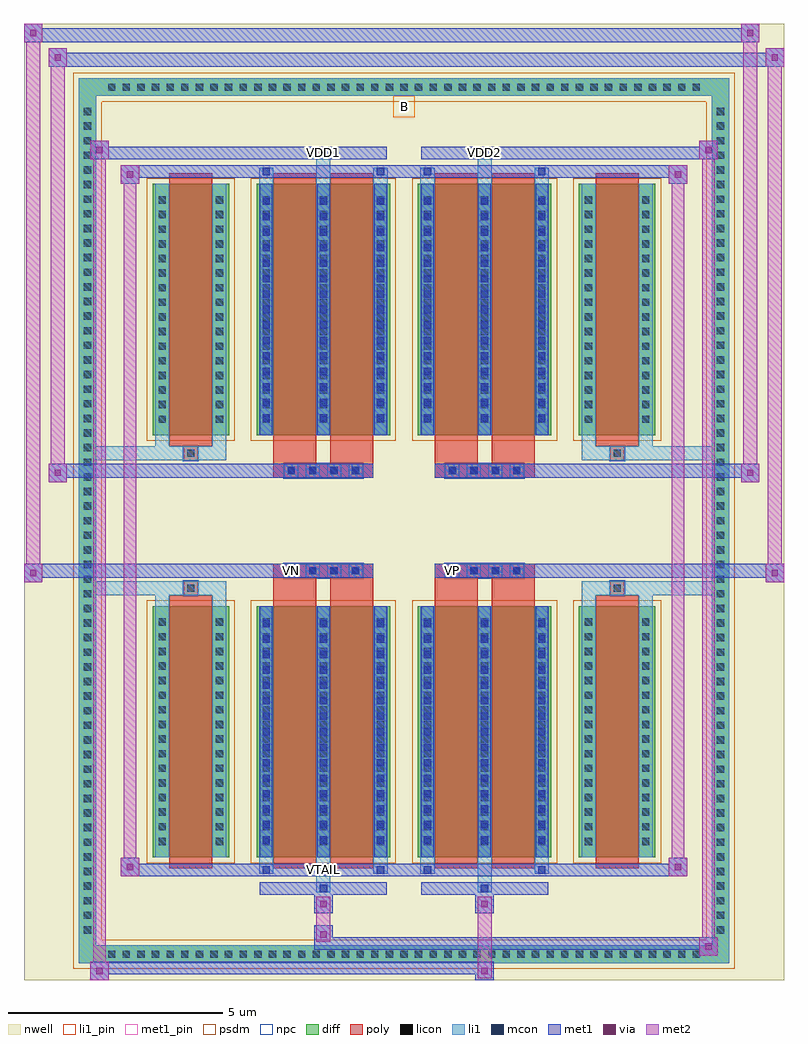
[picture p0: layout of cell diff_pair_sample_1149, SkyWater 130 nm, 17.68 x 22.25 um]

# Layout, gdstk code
import gdstk
lib = gdstk.Library(unit=1e-6, precision=5e-09)
def R(c, l, rs):  # rectangles x0, y0, x1, y1
    for r in rs: c.add(gdstk.rectangle(r[:2], r[2:], *l))
def A(c, l, x, y, w, h, nx, ny, dx, dy):  # array of equal rectangles
    R(c, l, [(x+i*dx, y+j*dy, x+i*dx+w, y+j*dy+h) for i in range(nx) for j in range(ny)])
def P(c, l, *ps):  # polygons
    for p in ps: c.add(gdstk.Polygon(p, *l))
nwell = (64, 20)
diff = (65, 20)
poly = (66, 20)
licon = (66, 44)
li1_pin = (67, 16)
li1 = (67, 20)
mcon = (67, 44)
met1_pin = (68, 16)
met1 = (68, 20)
via = (68, 44)
met2 = (69, 20)
psdm = (94, 20)
npc = (95, 20)

diff_pair_sample_1149 = lib.new_cell('diff_pair_sample_1149')
R(diff_pair_sample_1149, nwell, [(-8.84,-10.69,8.84,11.56), (-6.16,-8.88,-0.01,-0.8), (0.01,-8.88,6.16,-0.8), (-6.16,0.8,-0.01,8.88), (0.01,0.8,6.16,8.88)])
A(diff_pair_sample_1149, diff, -7.005, -10.29, 0.41, 0.41, 41, 2, 0.34, 20.17)
A(diff_pair_sample_1149, diff, -7.57, -9.725, 0.41, 0.41, 1, 57, 0, 0.34)
A(diff_pair_sample_1149, diff, 7.16, -9.725, 0.41, 0.41, 1, 57, 0, 0.34)
R(diff_pair_sample_1149, diff, [(-7.005,-10.29,7.005,-9.88), (-7.57,-9.725,-7.16,9.725), (7.16,-9.725,7.57,9.725), (-5.85,-7.835,-4.07,-1.985), (-3.43,-7.835,-0.32,-1.985), (0.32,-7.835,3.43,-1.985), (4.07,-7.835,5.85,-1.985), (-5.85,1.985,-4.07,7.835), (-3.43,1.985,-0.32,7.835), (0.32,1.985,3.43,7.835), (4.07,1.985,5.85,7.835), (-7.005,9.88,7.005,10.29)])
P(diff_pair_sample_1149, diff, [(7.57,10.29),(-7.57,10.29),(-7.57,-9.88),(-7.16,-9.88),(-7.16,9.88),(7.16,9.88),(7.16,-9.88),(-7.16,-9.88),(-7.57,-9.88),(-7.57,-10.29),(7.57,-10.29)])
A(diff_pair_sample_1149, poly, -2.79, -1.33, 0.33, 0.33, 4, 2, 0.5, 2.33)
A(diff_pair_sample_1149, poly, 0.96, -1.33, 0.33, 0.33, 4, 2, 0.5, 2.33)
R(diff_pair_sample_1149, poly, [(-5.46,-8.085,-4.46,-1.735), (-3.04,-8.085,-2.04,-1.735), (-1.71,-8.085,-0.71,-1.735), (0.71,-8.085,1.71,-1.735), (2.04,-8.085,3.04,-1.735), (4.46,-8.085,5.46,-1.735), (-5.125,-1.735,-4.795,-1.405), (-5.125,-1.735,-4.795,-1.405), (-3.04,-1.735,-2.04,-1.33), (-1.71,-1.735,-0.71,-1.33), (0.71,-1.735,1.71,-1.33), (2.04,-1.735,3.04,-1.33), (4.795,-1.735,5.125,-1.405), (4.795,-1.735,5.125,-1.405), (-3.04,-1.33,-0.71,-1), (0.71,-1.33,3.04,-1), (-3.04,1,-0.71,1.33), (0.71,1,3.04,1.33), (-3.04,1.33,-2.04,1.735), (-1.71,1.33,-0.71,1.735), (0.71,1.33,1.71,1.735), (2.04,1.33,3.04,1.735), (-5.125,1.405,-4.795,1.735), (-5.125,1.405,-4.795,1.735), (4.795,1.405,5.125,1.735), (4.795,1.405,5.125,1.735), (-5.46,1.735,-4.46,8.085), (-3.04,1.735,-2.04,8.085), (-1.71,1.735,-0.71,8.085), (0.71,1.735,1.71,8.085), (2.04,1.735,3.04,8.085), (4.46,1.735,5.46,8.085)])
A(diff_pair_sample_1149, licon, -6.885, -10.17, 0.17, 0.17, 41, 2, 0.34, 20.17)
A(diff_pair_sample_1149, licon, -7.45, -9.605, 0.17, 0.17, 1, 57, 0, 0.34)
A(diff_pair_sample_1149, licon, 7.28, -9.605, 0.17, 0.17, 1, 57, 0, 0.34)
A(diff_pair_sample_1149, licon, -5.71, -7.545, 0.17, 0.17, 1, 16, 0, 0.34)
A(diff_pair_sample_1149, licon, -4.38, -7.545, 0.17, 0.17, 1, 16, 0, 0.34)
A(diff_pair_sample_1149, licon, -3.29, -7.545, 0.17, 0.17, 3, 16, 1.33, 0.34)
A(diff_pair_sample_1149, licon, 0.46, -7.545, 0.17, 0.17, 3, 16, 1.33, 0.34)
A(diff_pair_sample_1149, licon, 4.21, -7.545, 0.17, 0.17, 1, 16, 0, 0.34)
A(diff_pair_sample_1149, licon, 5.54, -7.545, 0.17, 0.17, 1, 16, 0, 0.34)
A(diff_pair_sample_1149, licon, -2.71, -1.25, 0.17, 0.17, 4, 2, 0.5, 2.33)
A(diff_pair_sample_1149, licon, 1.04, -1.25, 0.17, 0.17, 4, 2, 0.5, 2.33)
A(diff_pair_sample_1149, licon, -5.71, 2.275, 0.17, 0.17, 1, 16, 0, 0.34)
A(diff_pair_sample_1149, licon, -4.38, 2.275, 0.17, 0.17, 1, 16, 0, 0.34)
A(diff_pair_sample_1149, licon, -3.29, 2.275, 0.17, 0.17, 3, 16, 1.33, 0.34)
A(diff_pair_sample_1149, licon, 0.46, 2.275, 0.17, 0.17, 3, 16, 1.33, 0.34)
A(diff_pair_sample_1149, licon, 4.21, 2.275, 0.17, 0.17, 1, 16, 0, 0.34)
A(diff_pair_sample_1149, licon, 5.54, 2.275, 0.17, 0.17, 1, 16, 0, 0.34)
R(diff_pair_sample_1149, licon, [(-5.045,-1.655,-4.875,-1.485), (4.875,-1.655,5.045,-1.485), (-5.045,1.485,-4.875,1.655), (4.875,1.485,5.045,1.655)])
R(diff_pair_sample_1149, li1_pin, [(-0.25,9.38,0.25,9.88)])
A(diff_pair_sample_1149, li1, -6.965, -10.25, 0.33, 0.33, 41, 2, 0.34, 20.17)
A(diff_pair_sample_1149, li1, -7.53, -9.685, 0.33, 0.33, 1, 57, 0, 0.34)
A(diff_pair_sample_1149, li1, 7.2, -9.685, 0.33, 0.33, 1, 57, 0, 0.34)
A(diff_pair_sample_1149, li1, -3.37, -7.835, 0.33, 5.85, 3, 2, 1.33, 9.82)
A(diff_pair_sample_1149, li1, 0.38, -7.835, 0.33, 5.85, 3, 2, 1.33, 9.82)
A(diff_pair_sample_1149, li1, -5.79, -7.625, 0.33, 0.33, 1, 16, 0, 0.34)
A(diff_pair_sample_1149, li1, -4.46, -7.625, 0.33, 0.33, 1, 16, 0, 0.34)
A(diff_pair_sample_1149, li1, -3.37, -7.625, 0.33, 0.33, 3, 16, 1.33, 0.34)
A(diff_pair_sample_1149, li1, 0.38, -7.625, 0.33, 0.33, 3, 16, 1.33, 0.34)
A(diff_pair_sample_1149, li1, 4.13, -7.625, 0.33, 0.33, 1, 16, 0, 0.34)
A(diff_pair_sample_1149, li1, 5.46, -7.625, 0.33, 0.33, 1, 16, 0, 0.34)
A(diff_pair_sample_1149, li1, -3.29, -7.515, 0.17, 0.17, 3, 15, 1.33, 0.36)
A(diff_pair_sample_1149, li1, -3.29, -7.515, 0.17, 5.21, 3, 2, 1.33, 9.82)
A(diff_pair_sample_1149, li1, 0.46, -7.515, 0.17, 0.17, 3, 15, 1.33, 0.36)
A(diff_pair_sample_1149, li1, 0.46, -7.515, 0.17, 5.21, 3, 2, 1.33, 9.82)
A(diff_pair_sample_1149, li1, -2.79, -1.33, 0.33, 0.33, 4, 2, 0.5, 2.33)
A(diff_pair_sample_1149, li1, 0.96, -1.33, 0.33, 0.33, 4, 2, 0.5, 2.33)
A(diff_pair_sample_1149, li1, -5.79, 2.195, 0.33, 0.33, 1, 16, 0, 0.34)
A(diff_pair_sample_1149, li1, -4.46, 2.195, 0.33, 0.33, 1, 16, 0, 0.34)
A(diff_pair_sample_1149, li1, -3.37, 2.195, 0.33, 0.33, 3, 16, 1.33, 0.34)
A(diff_pair_sample_1149, li1, 0.38, 2.195, 0.33, 0.33, 3, 16, 1.33, 0.34)
A(diff_pair_sample_1149, li1, 4.13, 2.195, 0.33, 0.33, 1, 16, 0, 0.34)
A(diff_pair_sample_1149, li1, 5.46, 2.195, 0.33, 0.33, 1, 16, 0, 0.34)
A(diff_pair_sample_1149, li1, -3.29, 2.305, 0.17, 0.17, 3, 15, 1.33, 0.36)
A(diff_pair_sample_1149, li1, 0.46, 2.305, 0.17, 0.17, 3, 15, 1.33, 0.36)
R(diff_pair_sample_1149, li1, [(-7.57,-10.29,-7.16,-9.88), (-7.57,-10.29,-7.16,-9.88), (-7.16,-10.29,7.16,-9.88), (7.16,-10.29,7.57,-9.88), (7.16,-10.29,7.57,-9.88), (-7.57,-9.88,-7.16,9.88), (7.16,-9.88,7.57,9.88), (-2.04,-8.64,-1.71,-7.835), (-1.96,-8.64,-1.79,-8.47), (1.71,-8.64,2.04,-7.835), (1.79,-8.64,1.96,-8.47), (-3.37,-8.21,-3.04,-7.835), (-3.29,-8.21,-3.12,-8.04), (-0.71,-8.21,-0.38,-7.835), (-0.63,-8.21,-0.46,-8.04), (0.38,-8.21,0.71,-7.835), (0.46,-8.21,0.63,-8.04), (3.04,-8.21,3.37,-7.835), (3.12,-8.21,3.29,-8.04), (-5.79,-7.835,-5.46,-1.985), (-4.46,-7.835,-4.13,-1.985), (4.13,-7.835,4.46,-1.985), (5.46,-7.835,5.79,-1.985), (-5.79,-1.985,-5.46,-1.405), (-4.46,-1.985,-4.13,-1.405), (4.13,-1.985,4.46,-1.405), (5.46,-1.985,5.79,-1.405), (-7.57,-1.735,-5.125,-1.405), (-5.79,-1.735,-5.125,-1.405), (-5.125,-1.735,-4.795,-1.405), (-4.795,-1.735,-4.13,-1.405), (4.13,-1.735,4.795,-1.405), (4.795,-1.735,5.125,-1.405), (4.795,-1.735,7.57,-1.405), (5.125,-1.735,5.79,-1.405), (-7.57,1.405,-5.125,1.735), (-5.79,1.405,-5.125,1.735), (-5.79,1.405,-5.46,1.985), (-5.125,1.405,-4.795,1.735), (-4.795,1.405,-4.13,1.735), (-4.46,1.405,-4.13,1.985), (4.13,1.405,4.795,1.735), (4.13,1.405,4.46,1.985), (4.795,1.405,5.125,1.735), (4.795,1.405,7.57,1.735), (5.125,1.405,5.79,1.735), (5.46,1.405,5.79,1.985), (-5.79,1.985,-5.46,7.835), (-4.46,1.985,-4.13,7.835), (4.13,1.985,4.46,7.835), (5.46,1.985,5.79,7.835), (-3.37,7.835,-3.04,8.21), (-2.04,7.835,-1.71,8.64), (-0.71,7.835,-0.38,8.21), (0.38,7.835,0.71,8.21), (1.71,7.835,2.04,8.64), (3.04,7.835,3.37,8.21), (-3.29,8.04,-3.12,8.21), (-0.63,8.04,-0.46,8.21), (0.46,8.04,0.63,8.21), (3.12,8.04,3.29,8.21), (-1.96,8.47,-1.79,8.64), (1.79,8.47,1.96,8.64), (-7.57,9.88,-7.16,10.29), (-7.57,9.88,-7.16,10.29), (-7.16,9.88,7.16,10.29), (7.16,9.88,7.57,10.29), (7.16,9.88,7.57,10.29)])
A(diff_pair_sample_1149, mcon, -3.29, -7.515, 0.17, 0.17, 3, 15, 1.33, 0.36)
A(diff_pair_sample_1149, mcon, 0.46, -7.515, 0.17, 0.17, 3, 15, 1.33, 0.36)
A(diff_pair_sample_1149, mcon, -2.71, -1.25, 0.17, 0.17, 4, 2, 0.5, 2.33)
A(diff_pair_sample_1149, mcon, 1.04, -1.25, 0.17, 0.17, 4, 2, 0.5, 2.33)
A(diff_pair_sample_1149, mcon, -3.29, 2.305, 0.17, 0.17, 3, 15, 1.33, 0.36)
A(diff_pair_sample_1149, mcon, 0.46, 2.305, 0.17, 0.17, 3, 15, 1.33, 0.36)
R(diff_pair_sample_1149, mcon, [(-1.96,-8.64,-1.79,-8.47), (1.79,-8.64,1.96,-8.47), (-3.29,-8.21,-3.12,-8.04), (-0.63,-8.21,-0.46,-8.04), (0.46,-8.21,0.63,-8.04), (3.12,-8.21,3.29,-8.04), (-3.29,8.04,-3.12,8.21), (-0.63,8.04,-0.46,8.21), (0.46,8.04,0.63,8.21), (3.12,8.04,3.29,8.21), (-1.96,8.47,-1.79,8.64), (1.79,8.47,1.96,8.64)])
R(diff_pair_sample_1149, met1_pin, [(-2.01,-8.25,-1.74,-7.98), (-2.76,-1.29,-2.49,-1.02), (0.99,-1.29,1.26,-1.02), (-2.01,8.43,-1.74,8.7), (1.74,8.43,2.01,8.7)])
A(diff_pair_sample_1149, met1, -3.35, -7.835, 0.29, 5.85, 3, 2, 1.33, 9.82)
A(diff_pair_sample_1149, met1, 0.4, -7.835, 0.29, 5.85, 3, 2, 1.33, 9.82)
A(diff_pair_sample_1149, met1, -3.35, -7.575, 0.29, 0.29, 3, 15, 1.33, 0.36)
A(diff_pair_sample_1149, met1, 0.4, -7.575, 0.29, 0.29, 3, 15, 1.33, 0.36)
A(diff_pair_sample_1149, met1, -2.77, -1.31, 0.29, 0.29, 4, 2, 0.5, 2.33)
A(diff_pair_sample_1149, met1, 0.98, -1.31, 0.29, 0.29, 4, 2, 0.5, 2.33)
A(diff_pair_sample_1149, met1, -3.35, 2.245, 0.29, 0.29, 3, 15, 1.33, 0.36)
A(diff_pair_sample_1149, met1, 0.4, 2.245, 0.29, 0.29, 3, 15, 1.33, 0.36)
R(diff_pair_sample_1149, met1, [(-7.3,-10.69,-6.87,-10.26), (1.66,-10.69,2.09,-10.26), (-7.3,-10.55,2.09,-10.26), (6.87,-10.12,7.3,-9.69), (-2.09,-9.98,7.3,-9.69), (-2.09,-9.84,-1.66,-9.41), (-2.09,-9.13,-1.66,-8.7), (1.66,-9.13,2.09,-8.7), (-3.35,-8.7,-0.4,-8.41), (-2.02,-8.7,-1.73,-8.41), (0.4,-8.7,3.35,-8.41), (1.73,-8.7,2.02,-8.41), (-6.59,-8.27,-6.16,-7.84), (-6.59,-8.27,-3.35,-7.98), (-3.35,-8.27,-3.06,-7.98), (-3.35,-8.27,-0.4,-7.98), (-0.69,-8.27,-0.4,-7.98), (-0.4,-8.27,0.4,-7.98), (0.4,-8.27,0.69,-7.98), (0.4,-8.27,3.35,-7.98), (3.06,-8.27,3.35,-7.98), (3.35,-8.27,6.59,-7.98), (6.16,-8.27,6.59,-7.84), (-8.84,-1.43,-8.41,-1), (8.41,-1.43,8.84,-1), (-8.84,-1.33,-0.71,-1), (-3.04,-1.33,-0.71,-1), (0.71,-1.33,3.04,-1), (0.71,-1.33,8.84,-1), (-8.27,0.9,-7.84,1.33), (7.84,0.9,8.27,1.33), (-8.27,1,-3.04,1.33), (-3.04,1,-0.71,1.33), (0.71,1,3.04,1.33), (3.04,1,8.27,1.33), (-6.59,7.84,-6.16,8.27), (6.16,7.84,6.59,8.27), (-6.59,7.98,-3.35,8.27), (-3.35,7.98,-3.06,8.27), (-3.35,7.98,-0.4,8.27), (-0.69,7.98,-0.4,8.27), (-0.4,7.98,0.4,8.27), (0.4,7.98,0.69,8.27), (0.4,7.98,3.35,8.27), (3.06,7.98,3.35,8.27), (3.35,7.98,6.59,8.27), (-7.3,8.41,-6.87,8.84), (-7.3,8.41,-3.35,8.7), (-3.35,8.41,-0.4,8.7), (-2.02,8.41,-1.73,8.7), (0.4,8.41,3.35,8.7), (1.73,8.41,2.02,8.7), (3.35,8.41,7.3,8.7), (6.87,8.41,7.3,8.84), (-8.27,10.56,-7.84,10.99), (-8.27,10.56,-6.16,10.89), (-6.16,10.56,6.16,10.89), (6.16,10.56,8.84,10.89), (8.41,10.56,8.84,10.99), (-8.84,11.13,-8.41,11.56), (-8.84,11.13,-6.16,11.46), (-6.16,11.13,6.16,11.46), (6.16,11.13,8.27,11.46), (7.84,11.13,8.27,11.56)])
R(diff_pair_sample_1149, via, [(-7.16,-10.55,-7.01,-10.4), (1.8,-10.55,1.95,-10.4), (7.01,-9.98,7.16,-9.83), (-1.95,-9.7,-1.8,-9.55), (-1.95,-8.99,-1.8,-8.84), (1.8,-8.99,1.95,-8.84), (-6.45,-8.13,-6.3,-7.98), (6.3,-8.13,6.45,-7.98), (-8.7,-1.29,-8.55,-1.14), (8.55,-1.29,8.7,-1.14), (-8.13,1.04,-7.98,1.19), (7.98,1.04,8.13,1.19), (-6.45,7.98,-6.3,8.13), (6.3,7.98,6.45,8.13), (-7.16,8.55,-7.01,8.7), (7.01,8.55,7.16,8.7), (-8.13,10.7,-7.98,10.85), (8.55,10.7,8.7,10.85), (-8.7,11.27,-8.55,11.42), (7.98,11.27,8.13,11.42)])
R(diff_pair_sample_1149, met2, [(-7.3,-10.69,-6.87,-10.26), (-7.23,-10.69,-6.94,8.84), (-6.94,-10.69,-6.87,-10.26), (-7.25,-10.64,-6.92,-10.31), (1.71,-10.64,2.04,-10.31), (1.71,-10.31,2.04,-9.08), (6.87,-10.12,7.3,-9.69), (6.94,-10.12,7.23,8.84), (7.23,-10.12,7.3,-9.69), (6.92,-10.07,7.25,-9.74), (-2.04,-9.79,-1.71,-9.46), (-2.04,-9.46,-1.71,-9.08), (-2.04,-9.08,-1.71,-8.75), (1.71,-9.08,2.04,-8.75), (-6.59,-8.27,-6.16,-7.84), (-6.52,-8.27,-6.23,8.27), (-6.23,-8.27,-6.16,-7.84), (6.16,-8.27,6.59,-7.84), (6.23,-8.27,6.52,8.27), (6.52,-8.27,6.59,-7.84), (-6.54,-8.22,-6.21,-7.89), (6.21,-8.22,6.54,-7.89), (-8.84,-1.43,-8.41,-1), (-8.79,-1.43,-8.46,11.56), (-8.46,-1.43,-8.41,-1), (8.41,-1.43,8.84,-1), (8.46,-1.43,8.79,10.99), (8.79,-1.43,8.84,-1), (-8.79,-1.38,-8.46,-1.05), (8.46,-1.38,8.79,-1.05), (-8.27,0.9,-7.84,1.33), (-8.22,0.9,-7.89,10.99), (-7.89,0.9,-7.84,1.33), (7.84,0.9,8.27,1.33), (7.89,0.9,8.22,11.56), (8.22,0.9,8.27,1.33), (-8.22,0.95,-7.89,1.28), (7.89,0.95,8.22,1.28), (-6.59,7.84,-6.16,8.27), (-6.23,7.84,-6.16,8.27), (6.16,7.84,6.59,8.27), (6.52,7.84,6.59,8.27), (-6.54,7.89,-6.21,8.22), (6.21,7.89,6.54,8.22), (-7.3,8.41,-6.87,8.84), (-6.94,8.41,-6.87,8.84), (6.87,8.41,7.3,8.84), (7.23,8.41,7.3,8.84), (-7.25,8.46,-6.92,8.79), (6.92,8.46,7.25,8.79), (-8.27,10.56,-7.84,10.99), (-7.89,10.56,-7.84,10.99), (8.41,10.56,8.84,10.99), (8.79,10.56,8.84,10.99), (-8.22,10.61,-7.89,10.94), (8.46,10.61,8.79,10.94), (-8.84,11.13,-8.41,11.56), (-8.46,11.13,-8.41,11.56), (7.84,11.13,8.27,11.56), (8.22,11.13,8.27,11.56), (-8.79,11.18,-8.46,11.51), (7.89,11.18,8.22,11.51)])
R(diff_pair_sample_1149, psdm, [(-5.98,-7.965,-3.94,-1.855), (-3.56,-7.965,-0.19,-1.855), (0.19,-7.965,3.56,-1.855), (3.94,-7.965,5.98,-1.855), (-5.98,1.855,-3.94,7.965), (-3.56,1.855,-0.19,7.965), (0.19,1.855,3.56,7.965), (3.94,1.855,5.98,7.965)])
P(diff_pair_sample_1149, psdm, [(7.7,10.42),(-7.7,10.42),(-7.7,-9.75),(-7.03,-9.75),(-7.03,9.75),(7.03,9.75),(7.03,-9.75),(-7.03,-9.75),(-7.7,-9.75),(-7.7,-10.42),(7.7,-10.42)])
A(diff_pair_sample_1149, npc, -2.81, -1.35, 0.37, 0.37, 4, 2, 0.5, 2.33)
A(diff_pair_sample_1149, npc, 0.94, -1.35, 0.37, 0.37, 4, 2, 0.5, 2.33)
R(diff_pair_sample_1149, npc, [(-5.145,-1.755,-4.775,-1.385), (4.775,-1.755,5.145,-1.385), (-2.81,-1.35,-1.94,-0.98), (-2.81,-1.35,-1.94,-0.98), (-2.31,-1.35,-1.44,-0.98), (-2.31,-1.35,-1.44,-0.98), (-1.81,-1.35,-0.94,-0.98), (-1.81,-1.35,-0.94,-0.98), (0.94,-1.35,1.81,-0.98), (0.94,-1.35,1.81,-0.98), (1.44,-1.35,2.31,-0.98), (1.44,-1.35,2.31,-0.98), (1.94,-1.35,2.81,-0.98), (1.94,-1.35,2.81,-0.98), (-2.81,0.98,-1.94,1.35), (-2.81,0.98,-1.94,1.35), (-2.31,0.98,-1.44,1.35), (-2.31,0.98,-1.44,1.35), (-1.81,0.98,-0.94,1.35), (-1.81,0.98,-0.94,1.35), (0.94,0.98,1.81,1.35), (0.94,0.98,1.81,1.35), (1.44,0.98,2.31,1.35), (1.44,0.98,2.31,1.35), (1.94,0.98,2.81,1.35), (1.94,0.98,2.81,1.35), (-5.145,1.385,-4.775,1.755), (4.775,1.385,5.145,1.755)])
diff_pair_sample_1149.add(gdstk.Label('VTAIL', (-1.875,-8.115), layer=68, texttype=5))
diff_pair_sample_1149.add(gdstk.Label('VN', (-2.625,-1.155), layer=68, texttype=5))
diff_pair_sample_1149.add(gdstk.Label('VP', (1.125,-1.155), layer=68, texttype=5))
diff_pair_sample_1149.add(gdstk.Label('B', (0,9.63), layer=67, texttype=5))
diff_pair_sample_1149.add(gdstk.Label('VDD2', (1.875,8.565), layer=68, texttype=5))
diff_pair_sample_1149.add(gdstk.Label('VDD1', (-1.875,8.565), layer=68, texttype=5))

lib.write_gds('diff_pair_sample_1149.gds')
